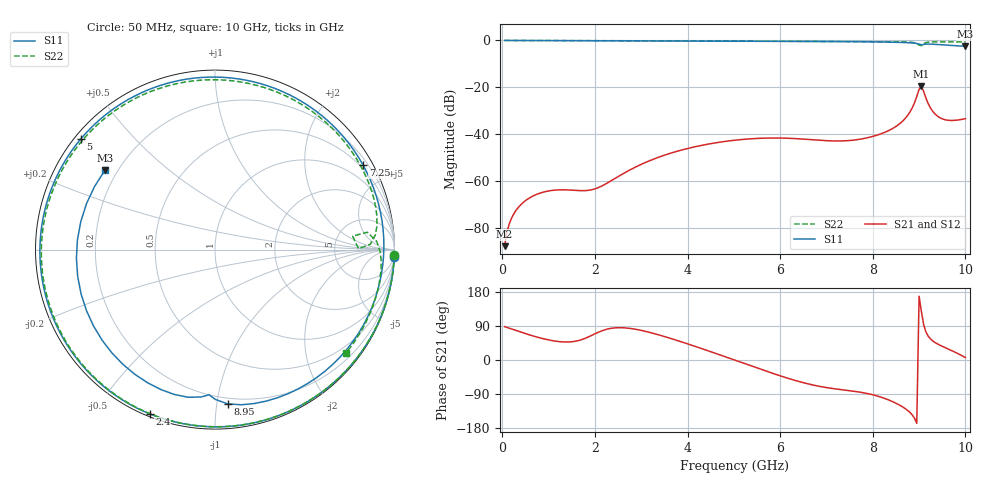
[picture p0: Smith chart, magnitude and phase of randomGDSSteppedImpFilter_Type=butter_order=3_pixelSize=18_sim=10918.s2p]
! freq	dB(S11)	phase(S11)	dB(S12)	phase(S12)
!  dB(S21)	phase(S21)	dB(S22)	phase(S22)
!S-par simulation data
#  GHz  S  DB  R 50
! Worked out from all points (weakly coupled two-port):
!   200 points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, 50 MHz to 10 GHz, reference 50 ohm
!   highest |S21| = -19.54 dB at 9.05 GHz (marker M1); lowest = -87.6 dB at 50 MHz (marker M2)
!   lowest |S11| = -2.4 dB at 10 GHz (marker M3), VSWR 7.20, Z = 7.65 + j15.8 ohm
!   |S11| at or under -10 dB: nowhere
!   |S22| runs from -2.3 to 0.0 dB; largest |S21 - S12| = 0
!   S11 on the Smith chart (normalised r, x): 50 MHz: 0, -46; 2.4 GHz: 0.01, -0.68; 5 GHz: 0.02, +0.36; 7.25 GHz: 0.39, +3.74; 8.95 GHz: 0.16, -1.07; 10 GHz: 0.15, +0.32
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0.05  -0.00 -2.5  -87.56 88.0  -87.56 88.0  -0.00 -1.7
0.35  -0.02 -17.4  -70.98 75.6  -70.98 75.6  -0.01 -11.9
0.7  -0.04 -34.5  -65.86 62.2  -65.86 62.2  -0.03 -23.8
1.25  -0.07 -60.7  -63.57 48.2  -63.57 48.2  -0.05 -42.2
1.75  -0.10 -83.5  -63.94 55.3  -63.94 55.3  -0.07 -58.8
2.4  -0.13 -111.7  -59.13 84.4  -59.13 84.4  -0.10 -80.0
3.4  -0.18 -153.1  -49.52 65.6  -49.52 65.6  -0.15 -112.5
4.2  -0.22 174.2  -45.08 34.5  -45.08 34.5  -0.20 -139.1
5  -0.27 140.4  -42.50 0.6  -42.50 0.6  -0.26 -167.2
5.05  -0.28 138.2  -42.39 -1.6  -42.39 -1.6  -0.26 -169.1
5.9  -0.33 99.4  -41.51 -37.7  -41.51 -37.7  -0.34 157.6
6.7  -0.39 59.3  -42.26 -65.8  -42.26 -65.8  -0.42 121.7
7.25  -0.45 29.7  -42.79 -77.1  -42.79 -77.1  -0.47 94.5
7.8  -0.54 -2.1  -41.77 -86.5  -41.77 -86.5  -0.51 65.6
8.35  -0.71 -37.3  -38.30 -105.8  -38.30 -105.8  -0.56 36.2
8.7  -0.91 -63.1  -33.20 -128.2  -33.20 -128.2  -0.64 17.3
8.95  -1.28 -85.2  -23.86 -167.1  -23.86 -167.1  -1.25 2.0
9.05  -1.84 -92.3  -19.54 127.9  -19.54 127.9  -2.26 5.6
9.25  -1.56 -111.2  -28.87 55.2  -28.87 55.2  -0.65 -3.8
9.4  -1.73 -128.7  -32.25 42.2  -32.25 42.2  -0.59 -12.0
9.7  -2.16 -169.0  -34.06 25.1  -34.06 25.1  -0.60 -25.9
10  -2.43 144.3  -33.31 6.5  -33.31 6.5  -0.64 -38.5
